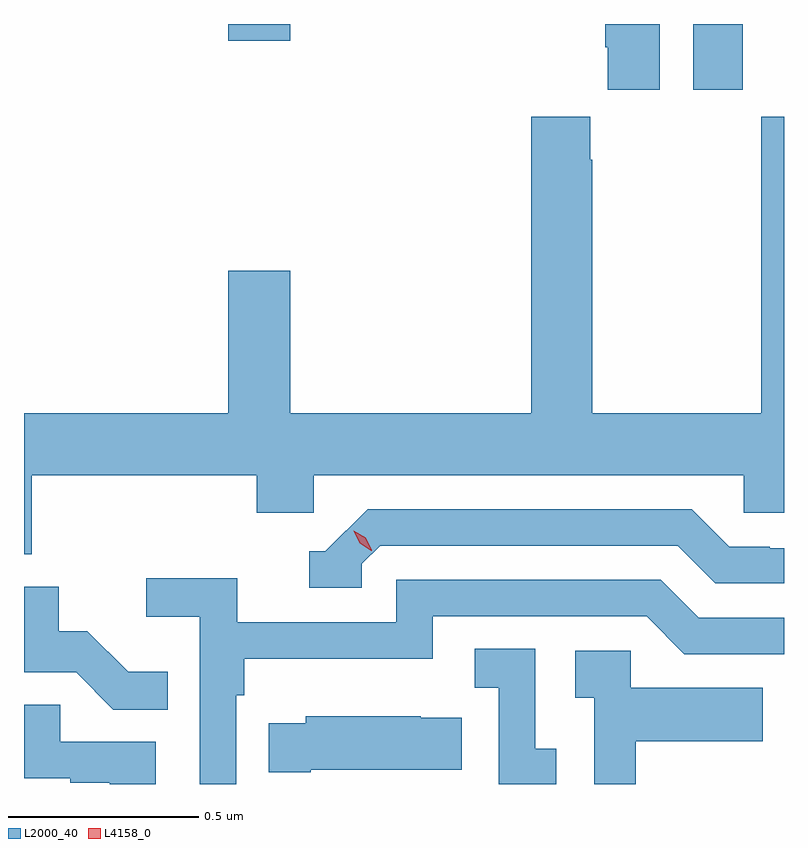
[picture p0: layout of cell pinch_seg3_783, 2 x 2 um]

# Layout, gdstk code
import gdstk
lib = gdstk.Library(unit=1e-6, precision=1e-09)
def R(c, l, rs):  # rectangles x0, y0, x1, y1
    for r in rs: c.add(gdstk.rectangle(r[:2], r[2:], *l))
def P(c, l, *ps):  # polygons
    for p in ps: c.add(gdstk.Polygon(p, *l))
L2000_40 = (2000, 40)
L4158_0 = (4158, 0)

pinch_seg3_783 = lib.new_cell('pinch_seg3_783')
R(pinch_seg3_783, L2000_40, [(813.584,736.563,813.715,736.736), (812.36,736.692,812.524,736.736)])
P(pinch_seg3_783, L2000_40, [(813.496,736.736),(813.353,736.736),(813.353,736.675),(813.359,736.675),(813.359,736.563),(813.496,736.563)],
  [(811.844,735.548),(812.435,735.548),(812.435,735.45),(812.586,735.45),(812.586,735.548),(813.717,735.548),(813.717,735.45),(813.823,735.45),(813.823,736.492),(813.763,736.492),(813.763,735.712),(813.318,735.712),(813.318,736.379),(813.313,736.379),(813.313,736.492),(813.158,736.492),(813.158,735.712),(812.524,735.712),(812.524,736.087),(812.36,736.087),(812.36,735.712),(811.823,735.712),(811.823,735.34),(811.844,735.34)],
  [(812.712,735.315),(812.76,735.363),(813.543,735.363),(813.642,735.264),(813.823,735.264),(813.823,735.357),(813.786,735.357),(813.786,735.36),(813.679,735.36),(813.58,735.459),(812.727,735.459),(812.616,735.348),(812.573,735.348),(812.573,735.252),(812.712,735.252)],
  [(812.382,734.969),(812.402,734.969),(812.402,735.065),(812.898,735.065),(812.898,735.177),(813.462,735.177),(813.561,735.078),(813.823,735.078),(813.823,735.174),(813.598,735.174),(813.499,735.273),(812.802,735.273),(812.802,735.162),(812.384,735.162),(812.384,735.278),(812.145,735.278),(812.145,735.176),(812.286,735.176),(812.286,734.736),(812.382,734.736)],
  [(812.201,735.031),(812.097,735.031),(811.99,735.138),(811.914,735.138),(811.914,735.255),(811.823,735.255),(811.823,735.03),(811.96,735.03),(812.058,734.932),(812.201,734.932)],
  [(813.223,734.829),(813.168,734.829),(813.168,735.092),(813.009,735.092),(813.009,734.989),(813.072,734.989),(813.072,734.736),(813.223,734.736)],
  [(813.433,734.849),(813.767,734.849),(813.767,734.989),(813.42,734.989),(813.42,735.087),(813.273,735.087),(813.273,734.963),(813.324,734.963),(813.324,734.736),(813.433,734.736)],
  [(812.17,734.847),(811.919,734.847),(811.919,734.945),(811.824,734.945),(811.824,734.751),(811.945,734.751),(811.945,734.739),(812.048,734.739),(812.048,734.736),(812.17,734.736)],
  [(812.578,734.774),(812.975,734.774),(812.975,734.911),(812.867,734.911),(812.867,734.914),(812.565,734.914),(812.565,734.896),(812.467,734.896),(812.467,734.767),(812.578,734.767)])
P(pinch_seg3_783, L4158_0, [(812.737,735.35),(812.707,735.37),(812.691,735.403),(812.691,735.403),(812.691,735.403),(812.722,735.384),(812.738,735.351),(812.738,735.35)])

lib.write_gds('pinch_seg3_783.gds')
